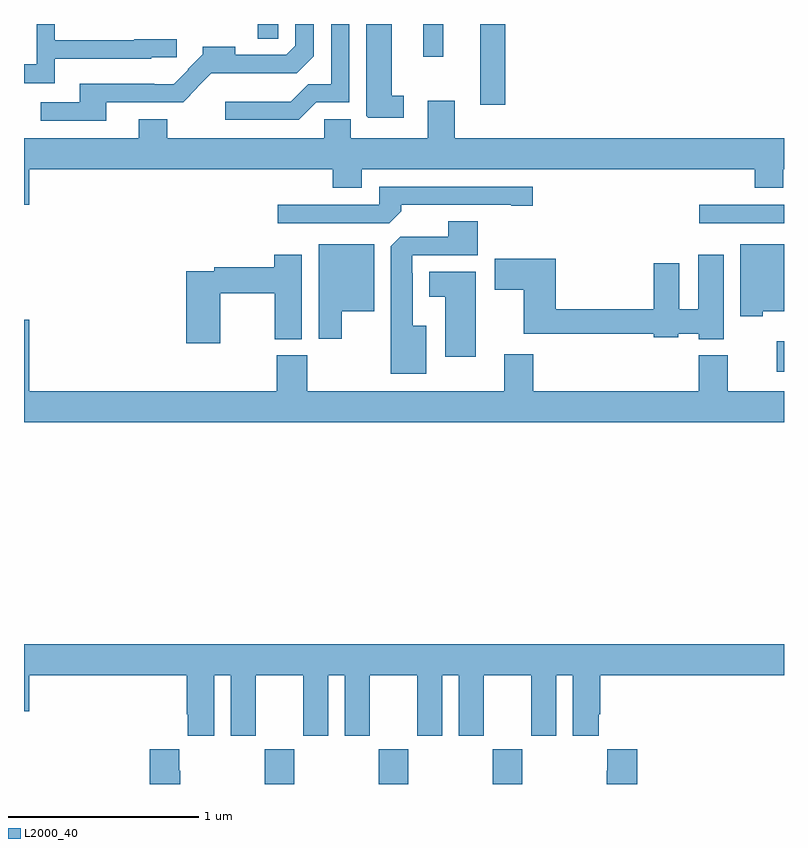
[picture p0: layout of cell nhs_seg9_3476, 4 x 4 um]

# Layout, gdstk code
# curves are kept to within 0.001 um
import gdstk
lib = gdstk.Library(unit=1e-6, precision=1e-09)
def R(c, l, rs):  # rectangles x0, y0, x1, y1
    for r in rs: c.add(gdstk.rectangle(r[:2], r[2:], *l))
def A(c, l, x, y, w, h, nx, ny, dx, dy):  # array of equal rectangles
    R(c, l, [(x+i*dx, y+j*dy, x+i*dx+w, y+j*dy+h) for i in range(nx) for j in range(ny)])
def P(c, l, *ps):  # polygons
    for p in ps: c.add(gdstk.Polygon(p, *l))
L2000_40 = (2000, 40)

nhs_seg9_3476 = lib.new_cell('nhs_seg9_3476')
A(nhs_seg9_3476, L2000_40, 310.267, 1210.5, 0.155, 0.184, 3, 1, 0.6, 0)
R(nhs_seg9_3476, L2000_40, [(312.963,1212.671,313,1212.829), (312.555,1213.452,313,1213.548), (311.402,1214.076,311.534,1214.5), (311.102,1214.328,311.206,1214.5), (310.23,1214.422,310.338,1214.5)])
P(nhs_seg9_3476, L2000_40, [(309.163,1214.318),(309.669,1214.318),(309.669,1214.325),(309.804,1214.325),(309.804,1214.421),(309.579,1214.421),(309.579,1214.415),(309.162,1214.415),(309.162,1214.5),(309.066,1214.5),(309.066,1214.289),(309,1214.289),(309,1214.189),(309.163,1214.189)],
  [(310.539,1214.088),(310.713,1214.088),(310.713,1214.5),(310.617,1214.5),(310.617,1214.183),(310.496,1214.183),(310.405,1214.092),(310.059,1214.092),(310.059,1213.995),(310.446,1213.995)],
  [(310.999,1214.123),(310.936,1214.123),(310.936,1214.5),(310.802,1214.5),(310.802,1214.017),(310.812,1214.007),(310.999,1214.007)],
  [(309.433,1214.088),(309.837,1214.088),(309.913,1214.165),(309.911,1214.167),(309.985,1214.241),(310.319,1214.24),(310.319,1214.242),(310.435,1214.242),(310.524,1214.331),(310.524,1214.5),(310.428,1214.5),(310.428,1214.385),(310.38,1214.337),(310.111,1214.337),(310.111,1214.38),(309.94,1214.38),(309.94,1214.341),(309.861,1214.262),(309.864,1214.259),(309.788,1214.183),(309.686,1214.183),(309.686,1214.185),(309.293,1214.185),(309.293,1214.088),(309.087,1214.088),(309.087,1213.992),(309.433,1213.992)],
  [(309.028,1213.736),(310.625,1213.736),(310.625,1213.637),(310.777,1213.637),(310.777,1213.736),(312.845,1213.736),(312.845,1213.637),(312.997,1213.637),(312.997,1213.736),(313,1213.736),(313,1213.9),(311.266,1213.9),(311.266,1214.095),(311.126,1214.095),(311.126,1213.9),(310.72,1213.9),(310.72,1213.998),(310.581,1213.998),(310.581,1213.9),(309.753,1213.9),(309.753,1213.999),(309.605,1213.999),(309.605,1213.9),(309,1213.9),(309,1213.548),(309.028,1213.548)],
  [(310.985,1213.514),(310.985,1213.548),(311.564,1213.548),(311.564,1213.543),(311.677,1213.543),(311.677,1213.644),(310.869,1213.644),(310.869,1213.548),(310.335,1213.548),(310.335,1213.452),(310.923,1213.452)],
  [(311.116,1212.913),(311.047,1212.913),(311.047,1213.187),(311.043,1213.187),(311.043,1213.284),(311.387,1213.284),(311.387,1213.463),(311.234,1213.463),(311.234,1213.38),(310.98,1213.38),(310.931,1213.331),(310.931,1212.659),(311.116,1212.659)],
  [(312.888,1212.989),(313,1212.989),(313,1213.342),(312.77,1213.342),(312.77,1212.962),(312.888,1212.962)],
  [(310.672,1212.989),(310.843,1212.989),(310.843,1213.342),(310.55,1213.342),(310.55,1212.843),(310.672,1212.843)],
  [(310.032,1213.084),(310.321,1213.084),(310.321,1212.841),(310.462,1212.841),(310.462,1213.285),(310.316,1213.285),(310.316,1213.22),(310,1213.22),(310,1213.2),(309.854,1213.2),(309.854,1212.819),(310.032,1212.819)],
  [(312.682,1213.285),(312.548,1213.285),(312.548,1212.999),(312.448,1212.999),(312.448,1213.24),(312.314,1213.24),(312.314,1212.998),(311.798,1212.998),(311.798,1213.264),(311.478,1213.264),(311.478,1213.102),(311.63,1213.102),(311.63,1212.87),(312.314,1212.87),(312.314,1212.851),(312.444,1212.851),(312.444,1212.869),(312.552,1212.869),(312.552,1212.842),(312.682,1212.842)],
  [(311.377,1213.195),(311.132,1213.195),(311.132,1213.064),(311.216,1213.064),(311.216,1212.75),(311.377,1212.75)],
  [(313,1212.568),(312.703,1212.568),(312.703,1212.757),(312.551,1212.757),(312.551,1212.568),(311.681,1212.568),(311.681,1212.763),(311.528,1212.763),(311.528,1212.568),(310.491,1212.568),(310.491,1212.756),(310.331,1212.756),(310.331,1212.568),(309.028,1212.568),(309.028,1212.943),(309,1212.943),(309,1212.404),(313,1212.404)],
  [(310,1211.072),(310.088,1211.072),(310.088,1210.755),(310.219,1210.755),(310.219,1211.072),(310.469,1211.072),(310.469,1210.755),(310.6,1210.755),(310.6,1211.072),(310.688,1211.072),(310.688,1210.755),(310.819,1210.755),(310.819,1211.072),(311.069,1211.072),(311.069,1210.755),(311.2,1210.755),(311.2,1211.072),(311.288,1211.072),(311.288,1210.755),(311.419,1210.755),(311.419,1211.072),(311.669,1211.072),(311.669,1210.755),(311.8,1210.755),(311.8,1211.072),(311.888,1211.072),(311.888,1210.755),(312.025,1210.755),(312.025,1210.867),(312.032,1210.867),(312.032,1211.072),(313,1211.072),(313,1211.236),(309,1211.236),(309,1210.884),(309.028,1210.884),(309.028,1211.072),(309.857,1211.072),(309.857,1210.867),(309.863,1210.867),(309.863,1210.755),(310,1210.755)],
  [(309.822,1210.571),(309.817,1210.571),(309.817,1210.684),(309.662,1210.684),(309.662,1210.5),(309.822,1210.5)],
  [(312.227,1210.684),(312.071,1210.684),(312.071,1210.571),(312.067,1210.571),(312.067,1210.5),(312.227,1210.5)])

lib.write_gds('nhs_seg9_3476.gds')
